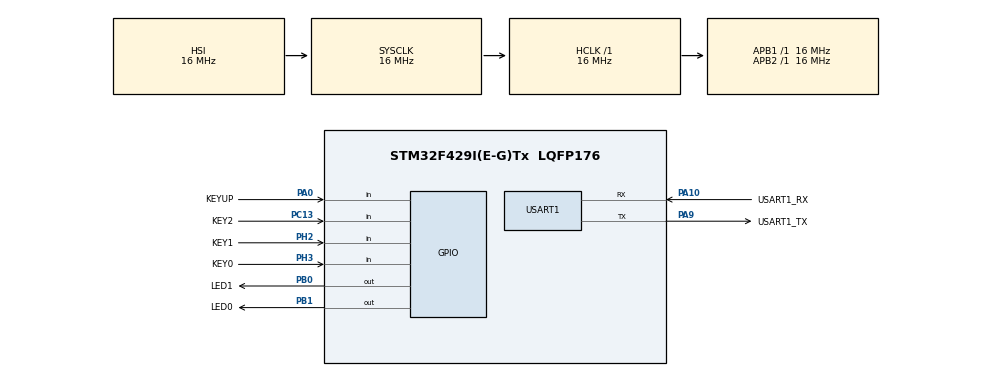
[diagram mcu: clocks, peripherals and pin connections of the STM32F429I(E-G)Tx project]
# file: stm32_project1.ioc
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Mcu.Family=STM32F4
Mcu.Name=STM32F429I(E-G)Tx
Mcu.Package=LQFP176
NVIC.PriorityGroup=NVIC_PRIORITYGROUP_4
PA0/WKUP.GPIO_Label=KEYUP
PA0/WKUP.GPIO_PuPd=GPIO_PULLDOWN
PA0/WKUP.Signal=GPIO_Input
PA10.GPIO_Label=USART1_RX
PA10.Mode=Asynchronous
PA10.Signal=USART1_RX
PA9.GPIO_Label=USART1_TX
PA9.Mode=Asynchronous
PA9.Signal=USART1_TX
PB0.GPIO_Label=LED1
PB0.Signal=GPIO_Output
PB1.GPIO_Label=LED0
PB1.Signal=GPIO_Output
PC13.GPIO_Label=KEY2
PC13.GPIO_PuPd=GPIO_PULLUP
PC13.Signal=GPIO_Input
PH2.GPIO_Label=KEY1
PH2.GPIO_PuPd=GPIO_PULLUP
PH2.Signal=GPIO_Input
PH3.GPIO_Label=KEY0
PH3.GPIO_PuPd=GPIO_PULLUP
PH3.Signal=GPIO_Input
ProjectManager.HeapSize=0x200
ProjectManager.StackSize=0x400
ProjectManager.TargetToolchain=Makefile
RCC.AHBFreq_Value=16000000
RCC.APB1Freq_Value=16000000
RCC.APB2Freq_Value=16000000
RCC.CortexFreq_Value=16000000
RCC.HSE_VALUE=25000000
RCC.HSI_VALUE=16000000
RCC.LSE_VALUE=32768
RCC.SYSCLKFreq_VALUE=16000000
RCC.VCOOutputFreq_Value=192000000
USART1.VirtualMode=VM_ASYNC
board=custom

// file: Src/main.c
/* USER CODE BEGIN Header */
/**
 ******************************************************************************
 * @file           : main.c
 * @brief          : Main program body
 ******************************************************************************
 * @attention
 *
 * Copyright (c) 2025 STMicroelectronics.
 * All rights reserved.
 *
 * This software is licensed under terms that can be found in the LICENSE file
 * in the root directory of this software component.
 * If no LICENSE file comes with this software, it is provided AS-IS.
 *
 ******************************************************************************
 */
/* USER CODE END Header */
#include "main.h"
#include "led.h"
#include "button.h"

UART_HandleTypeDef huart1;

void SystemClock_Config(void);
static void MX_GPIO_Init(void);
static void MX_USART1_UART_Init(void);

int main(void)
{

  /* MCU Configuration--------------------------------------------------------*/

  /* Reset of all peripherals, Initializes the Flash interface and the Systick. */
  HAL_Init();

  /* Configure the system clock */
  SystemClock_Config();

  /* Initialize all configured peripherals */
  MX_GPIO_Init();
  MX_USART1_UART_Init();
  /* USER CODE BEGIN 2 */
  uint8_t key;
  LED0(1);
  LED1(1);
  /* USER CODE END 2 */

  /* Infinite loop */
  while (1)
  {

    /* USER CODE BEGIN 3 */
    key = key_scan(0);
    if (key)
    {
      switch (key)
      {
      case KEYUP_DOWN:
        /* 控制 LED0, LED1 互斥点亮 */
        LED1_TOGGLE();
        if (HAL_GPIO_ReadPin(LED1_GPIO_Port, LED1_Pin) == 1)
        {
          LED0(0);
        }
        else
          LED0(1);
        break;

      case KEY0_DOWN:
        LED0_TOGGLE();
        LED1_TOGGLE();
        break;
      case KEY1_DOWN:
        LED1_TOGGLE();
        break;
      case KEY2_DOWN:
        LED0_TOGGLE();
        break;
      }
    }
    else
    {
      HAL_Delay(10);
    }
  }
  /* USER CODE END 3 */
}

void SystemClock_Config(void)
{
  RCC_OscInitTypeDef RCC_OscInitStruct = {0};
  RCC_ClkInitTypeDef RCC_ClkInitStruct = {0};

  /** Configure the main internal regulator output voltage
   */
  __HAL_RCC_PWR_CLK_ENABLE();
  __HAL_PWR_VOLTAGESCALING_CONFIG(PWR_REGULATOR_VOLTAGE_SCALE3);

  /** Initializes the RCC Oscillators according to the specified parameters
   * in the RCC_OscInitTypeDef structure.
   */
  RCC_OscInitStruct.OscillatorType = RCC_OSCILLATORTYPE_HSI;
  RCC_OscInitStruct.HSIState = RCC_HSI_ON;
  RCC_OscInitStruct.HSICalibrationValue = RCC_HSICALIBRATION_DEFAULT;
  RCC_OscInitStruct.PLL.PLLState = RCC_PLL_NONE;
  if (HAL_RCC_OscConfig(&RCC_OscInitStruct) != HAL_OK)
  {
    Error_Handler();
  }

  /** Initializes the CPU, AHB and APB buses clocks
   */
  RCC_ClkInitStruct.ClockType = RCC_CLOCKTYPE_HCLK | RCC_CLOCKTYPE_SYSCLK | RCC_CLOCKTYPE_PCLK1 | RCC_CLOCKTYPE_PCLK2;
  RCC_ClkInitStruct.SYSCLKSource = RCC_SYSCLKSOURCE_HSI;
  RCC_ClkInitStruct.AHBCLKDivider = RCC_SYSCLK_DIV1;
  RCC_ClkInitStruct.APB1CLKDivider = RCC_HCLK_DIV1;
  RCC_ClkInitStruct.APB2CLKDivider = RCC_HCLK_DIV1;

  if (HAL_RCC_ClockConfig(&RCC_ClkInitStruct, FLASH_LATENCY_0) != HAL_OK)
  {
    Error_Handler();
  }
}

static void MX_USART1_UART_Init(void)
{

  huart1.Instance = USART1;
  huart1.Init.BaudRate = 115200;
  huart1.Init.WordLength = UART_WORDLENGTH_8B;
  huart1.Init.StopBits = UART_STOPBITS_1;
  huart1.Init.Parity = UART_PARITY_NONE;
  huart1.Init.Mode = UART_MODE_TX_RX;
  huart1.Init.HwFlowCtl = UART_HWCONTROL_NONE;
  huart1.Init.OverSampling = UART_OVERSAMPLING_16;
  if (HAL_UART_Init(&huart1) != HAL_OK)
  {
    Error_Handler();
  }
}

static void MX_GPIO_Init(void)
{
  GPIO_InitTypeDef GPIO_InitStruct = {0};

  /* GPIO Ports Clock Enable */
  __HAL_RCC_GPIOC_CLK_ENABLE();
  __HAL_RCC_GPIOA_CLK_ENABLE();
  __HAL_RCC_GPIOH_CLK_ENABLE();
  __HAL_RCC_GPIOB_CLK_ENABLE();

  /*Configure GPIO pin Output Level */
  HAL_GPIO_WritePin(GPIOB, LED1_Pin | LED0_Pin, GPIO_PIN_RESET);

  /*Configure GPIO pin : KEY2_Pin */
  GPIO_InitStruct.Pin = KEY2_Pin;
  GPIO_InitStruct.Mode = GPIO_MODE_INPUT;
  GPIO_InitStruct.Pull = GPIO_PULLUP;
  HAL_GPIO_Init(KEY2_GPIO_Port, &GPIO_InitStruct);

  /*Configure GPIO pin : KEYUP_Pin */
  GPIO_InitStruct.Pin = KEYUP_Pin;
  GPIO_InitStruct.Mode = GPIO_MODE_INPUT;
  GPIO_InitStruct.Pull = GPIO_PULLDOWN;
  HAL_GPIO_Init(KEYUP_GPIO_Port, &GPIO_InitStruct);

  /*Configure GPIO pins : KEY1_Pin KEY0_Pin */
  GPIO_InitStruct.Pin = KEY1_Pin | KEY0_Pin;
  GPIO_InitStruct.Mode = GPIO_MODE_INPUT;
  GPIO_InitStruct.Pull = GPIO_PULLUP;
  HAL_GPIO_Init(GPIOH, &GPIO_InitStruct);

  /*Configure GPIO pins : LED1_Pin LED0_Pin */
  GPIO_InitStruct.Pin = LED1_Pin | LED0_Pin;
  GPIO_InitStruct.Mode = GPIO_MODE_OUTPUT_PP;
  GPIO_InitStruct.Pull = GPIO_NOPULL;
  GPIO_InitStruct.Speed = GPIO_SPEED_FREQ_LOW;
  HAL_GPIO_Init(GPIOB, &GPIO_InitStruct);

}

void Error_Handler(void)
{
  __disable_irq();
  while (1)
  {
  }
}
